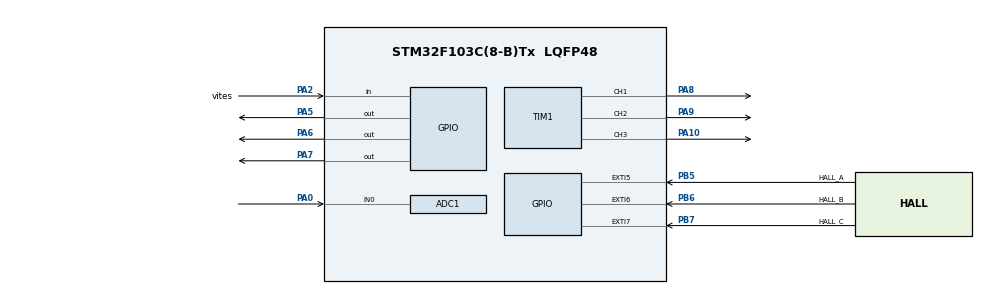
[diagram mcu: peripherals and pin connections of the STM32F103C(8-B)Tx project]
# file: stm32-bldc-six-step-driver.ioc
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ADC1.Channel-0\#ChannelRegularConversion=ADC_CHANNEL_0
ADC1.NbrOfConversionFlag=1
ADC1.Rank-0\#ChannelRegularConversion=1
ADC1.SamplingTime-0\#ChannelRegularConversion=ADC_SAMPLETIME_1CYCLE_5
ADC1.master=1
Mcu.Family=STM32F1
Mcu.Name=STM32F103C(8-B)Tx
Mcu.Package=LQFP48
NVIC.PriorityGroup=NVIC_PRIORITYGROUP_4
PA0-WKUP.Signal=ADCx_IN0
PA10.Signal=S_TIM1_CH3
PA2.GPIO_Label=vites
PA2.Signal=GPIO_Input
PA5.Signal=GPIO_Output
PA6.Signal=GPIO_Output
PA7.Signal=GPIO_Output
PA8.Signal=S_TIM1_CH1
PA9.Signal=S_TIM1_CH2
PB5.GPIO_Label=HALL_A
PB5.Signal=GPXTI5
PB6.GPIO_Label=HALL_B
PB6.Signal=GPXTI6
PB7.GPIO_Label=HALL_C
PB7.Signal=GPXTI7
ProjectManager.HeapSize=0x200
ProjectManager.StackSize=0x400
ProjectManager.TargetToolchain=STM32CubeIDE
RCC.APB1Freq_Value=8000000
RCC.APB2Freq_Value=8000000
SH.ADCx_IN0.0=ADC1_IN0,IN0
SH.S_TIM1_CH1.0=TIM1_CH1,PWM Generation1 CH1
SH.S_TIM1_CH2.0=TIM1_CH2,PWM Generation2 CH2
SH.S_TIM1_CH3.0=TIM1_CH3,PWM Generation3 CH3
TIM1.Channel-PWM\ Generation1\ CH1=TIM_CHANNEL_1
TIM1.Channel-PWM\ Generation2\ CH2=TIM_CHANNEL_2
TIM1.Channel-PWM\ Generation3\ CH3=TIM_CHANNEL_3
VP_SYS_VS_ND.Mode=No_Debug
board=custom

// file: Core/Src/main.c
/* USER CODE BEGIN Header */
/**
  ******************************************************************************
  * @file           : main.c
  * @brief          : Main program body
  * @author         : M. Eyub Can, TECH-OHM (https://tech-ohm.com)
  ******************************************************************************
  * @attention
  *
  * Copyright (c) 2024 STMicroelectronics.
  * All rights reserved.
  *
  * This software is licensed under terms that can be found in the LICENSE file
  * in the root directory of this software component.
  * If no LICENSE file comes with this software, it is provided AS-IS.
  *
  ******************************************************************************
  */
/* USER CODE END Header */
#include "main.h"

/* USER CODE BEGIN PTD */
/* Phase indexes. High side is a TIM1 channel, low side is a GPIOA pin. */
typedef enum { PHASE_A = 0, PHASE_B, PHASE_C } phase_t;

typedef struct {
  phase_t high;   /* high side, gets the PWM */
  phase_t low;    /* low side, held on for the whole step */
} step_t;
/* USER CODE END PTD */

/* USER CODE BEGIN PD */
#define PWM_STEPS          100U   /* duty resolution, TIM1 ARR = PWM_STEPS - 1 */
#define PWM_PRESCALER      3U     /* 8 MHz / (3 + 1) / 100 = 20 kHz */
#define DUTY_MAX           95U    /* bootstrap drivers cannot hold the high side at 100% duty */

#define THROTTLE_START     150U   /* motor starts above this throttle value (12-bit ADC) */
#define THROTTLE_STOP      100U   /* outputs switch off below this value */
#define THROTTLE_FULL      4095U
/* USER CODE END PD */

ADC_HandleTypeDef hadc1;

TIM_HandleTypeDef htim1;

/* USER CODE BEGIN PV */
/* Commutation table. Step 0 means everything off. */
static const step_t commutation[7] = {
  { PHASE_A, PHASE_A },   /* 0: not used */
  { PHASE_A, PHASE_B },   /* 1: AH + BL */
  { PHASE_A, PHASE_C },   /* 2: AH + CL */
  { PHASE_B, PHASE_C },   /* 3: BH + CL */
  { PHASE_B, PHASE_A },   /* 4: BH + AL */
  { PHASE_C, PHASE_A },   /* 5: CH + AL */
  { PHASE_C, PHASE_B },   /* 6: CH + BL */
};

/* Hall code (A<<2 | B<<1 | C) -> commutation step in the forward direction.
 * 000 and 111 are invalid. You get them when a sensor wire is broken. */
static const uint8_t hall_to_step[8] = { 0, 6, 4, 5, 2, 1, 3, 0 };

static const uint32_t pwm_channel[3] = { TIM_CHANNEL_1, TIM_CHANNEL_2, TIM_CHANNEL_3 };
static const uint16_t low_pin[3]     = { GPIO_PIN_5, GPIO_PIN_6, GPIO_PIN_7 };

static volatile uint32_t pwm_duty = 0;   /* 0..DUTY_MAX */
static volatile uint8_t  running  = 0;
static volatile uint8_t  reverse  = 0;   /* 0: forward, 1: reverse */
static uint32_t pedal = 0;               /* filtered ADC value */
/* USER CODE END PV */

void SystemClock_Config(void);
static void MX_GPIO_Init(void);
static void MX_ADC1_Init(void);
static void MX_TIM1_Init(void);
/* USER CODE BEGIN PFP */
static void motor_hw_init(void);
static void outputs_off(void);
static void apply_step(uint8_t step, uint32_t duty);
static void commutate(void);
static uint32_t read_pedal(void);
/* USER CODE END PFP */

/* USER CODE BEGIN 0 */
/* Settings that override what CubeMX generates. The PWM time base, the hall
 * interrupts and SWD are set here by hand, so regenerating the .ioc keeps them. */
static void motor_hw_init(void)
{
  GPIO_InitTypeDef gpio = {0};

  /* 20 kHz PWM, duty 0..100 */
  __HAL_TIM_SET_PRESCALER(&htim1, PWM_PRESCALER);
  __HAL_TIM_SET_AUTORELOAD(&htim1, PWM_STEPS - 1U);
  htim1.Instance->EGR = TIM_EGR_UG;

  /* Hall inputs must interrupt on both edges, otherwise 3 of the 6 steps are missed */
  gpio.Pin  = HALL_A_Pin | HALL_B_Pin | HALL_C_Pin;
  gpio.Mode = GPIO_MODE_IT_RISING_FALLING;
  gpio.Pull = GPIO_PULLUP;
  HAL_GPIO_Init(GPIOB, &gpio);
  HAL_NVIC_SetPriority(EXTI9_5_IRQn, 1, 0);
  HAL_NVIC_EnableIRQ(EXTI9_5_IRQn);

  /* JTAG off, SWD stays on so the board can be reprogrammed */
  __HAL_AFIO_REMAP_SWJ_NOJTAG();
}

static void outputs_off(void)
{
  HAL_GPIO_WritePin(GPIOA, GPIO_PIN_5 | GPIO_PIN_6 | GPIO_PIN_7, GPIO_PIN_RESET);
  __HAL_TIM_SET_COMPARE(&htim1, TIM_CHANNEL_1, 0);
  __HAL_TIM_SET_COMPARE(&htim1, TIM_CHANNEL_2, 0);
  __HAL_TIM_SET_COMPARE(&htim1, TIM_CHANNEL_3, 0);
}

/* Unused switches go off first, then the switches of the new step come on.
 * No step has the high and low side of the same phase on together. */
static void apply_step(uint8_t step, uint32_t duty)
{
  if (step < 1U || step > 6U) {
    outputs_off();
    return;
  }

  const step_t *s = &commutation[step];

  for (uint8_t p = 0; p < 3U; p++) {
    if (p != s->low)  HAL_GPIO_WritePin(GPIOA, low_pin[p], GPIO_PIN_RESET);
    if (p != s->high) __HAL_TIM_SET_COMPARE(&htim1, pwm_channel[p], 0);
  }
  HAL_GPIO_WritePin(GPIOA, low_pin[s->low], GPIO_PIN_SET);
  __HAL_TIM_SET_COMPARE(&htim1, pwm_channel[s->high], duty);
}

/* Reads the hall sensors and applies the step that matches the rotor position.
 * It works at standstill too, so no separate open-loop start is needed. */
static void commutate(void)
{
  uint8_t hall = 0;

  if (HAL_GPIO_ReadPin(GPIOB, HALL_A_Pin) == GPIO_PIN_SET) hall |= 0x4U;
  if (HAL_GPIO_ReadPin(GPIOB, HALL_B_Pin) == GPIO_PIN_SET) hall |= 0x2U;
  if (HAL_GPIO_ReadPin(GPIOB, HALL_C_Pin) == GPIO_PIN_SET) hall |= 0x1U;

  uint8_t step = hall_to_step[hall];

  /* In reverse the same hall code selects the step 180 degrees away */
  if (step != 0U && reverse) {
    step = (uint8_t)(((step + 2U) % 6U) + 1U);
  }

  apply_step(running ? step : 0U, pwm_duty);
}

/* Throttle potentiometer. A single sample is noisy, hence the 1/8 IIR filter. */
static uint32_t read_pedal(void)
{
  HAL_ADC_Start(&hadc1);
  if (HAL_ADC_PollForConversion(&hadc1, 2) == HAL_OK) {
    uint32_t raw = HAL_ADC_GetValue(&hadc1);
    pedal = (pedal * 7U + raw) / 8U;
  }
  return pedal;
}

void HAL_GPIO_EXTI_Callback(uint16_t GPIO_Pin)
{
  if (GPIO_Pin & (HALL_A_Pin | HALL_B_Pin | HALL_C_Pin)) {
    commutate();
  }
}
/* USER CODE END 0 */

int main(void)
{

  /* MCU Configuration--------------------------------------------------------*/

  /* Reset of all peripherals, Initializes the Flash interface and the Systick. */
  HAL_Init();

  /* Configure the system clock */
  SystemClock_Config();

  /* Initialize all configured peripherals */
  MX_GPIO_Init();
  MX_ADC1_Init();
  MX_TIM1_Init();
  /* USER CODE BEGIN 2 */
  motor_hw_init();
  outputs_off();
  HAL_TIM_PWM_Start(&htim1, TIM_CHANNEL_1);
  HAL_TIM_PWM_Start(&htim1, TIM_CHANNEL_2);
  HAL_TIM_PWM_Start(&htim1, TIM_CHANNEL_3);
  /* USER CODE END 2 */

  /* Infinite loop */
  while (1)
  {

    /* USER CODE BEGIN 3 */
    uint32_t throttle = read_pedal();

    if (!running && throttle >= THROTTLE_START) {
      /* Direction is read only at standstill. It cannot change while the motor turns. */
      reverse = (HAL_GPIO_ReadPin(vites_GPIO_Port, vites_Pin) == GPIO_PIN_SET);
      running = 1;
    } else if (running && throttle < THROTTLE_STOP) {
      running = 0;
    }

    if (running) {
      pwm_duty = (throttle - THROTTLE_STOP) * DUTY_MAX / (THROTTLE_FULL - THROTTLE_STOP);
    } else {
      pwm_duty = 0;
    }

    /* Commutation also runs from the main loop, to update the duty and to retry
     * if the motor stalls. The hall interrupt is masked so the two cannot collide. */
    HAL_NVIC_DisableIRQ(EXTI9_5_IRQn);
    commutate();
    HAL_NVIC_EnableIRQ(EXTI9_5_IRQn);

    HAL_Delay(1);
  }
  /* USER CODE END 3 */
}

void SystemClock_Config(void)
{
  RCC_OscInitTypeDef RCC_OscInitStruct = {0};
  RCC_ClkInitTypeDef RCC_ClkInitStruct = {0};
  RCC_PeriphCLKInitTypeDef PeriphClkInit = {0};

  /** Initializes the RCC Oscillators according to the specified parameters
  * in the RCC_OscInitTypeDef structure.
  */
  RCC_OscInitStruct.OscillatorType = RCC_OSCILLATORTYPE_HSI;
  RCC_OscInitStruct.HSIState = RCC_HSI_ON;
  RCC_OscInitStruct.HSICalibrationValue = RCC_HSICALIBRATION_DEFAULT;
  RCC_OscInitStruct.PLL.PLLState = RCC_PLL_NONE;
  if (HAL_RCC_OscConfig(&RCC_OscInitStruct) != HAL_OK)
  {
    Error_Handler();
  }

  /** Initializes the CPU, AHB and APB buses clocks
  */
  RCC_ClkInitStruct.ClockType = RCC_CLOCKTYPE_HCLK|RCC_CLOCKTYPE_SYSCLK
                              |RCC_CLOCKTYPE_PCLK1|RCC_CLOCKTYPE_PCLK2;
  RCC_ClkInitStruct.SYSCLKSource = RCC_SYSCLKSOURCE_HSI;
  RCC_ClkInitStruct.AHBCLKDivider = RCC_SYSCLK_DIV1;
  RCC_ClkInitStruct.APB1CLKDivider = RCC_HCLK_DIV1;
  RCC_ClkInitStruct.APB2CLKDivider = RCC_HCLK_DIV1;

  if (HAL_RCC_ClockConfig(&RCC_ClkInitStruct, FLASH_LATENCY_0) != HAL_OK)
  {
    Error_Handler();
  }
  PeriphClkInit.PeriphClockSelection = RCC_PERIPHCLK_ADC;
  PeriphClkInit.AdcClockSelection = RCC_ADCPCLK2_DIV2;
  if (HAL_RCCEx_PeriphCLKConfig(&PeriphClkInit) != HAL_OK)
  {
    Error_Handler();
  }
}

static void MX_ADC1_Init(void)
{

  ADC_ChannelConfTypeDef sConfig = {0};

  /** Common config
  */
  hadc1.Instance = ADC1;
  hadc1.Init.ScanConvMode = ADC_SCAN_DISABLE;
  hadc1.Init.ContinuousConvMode = DISABLE;
  hadc1.Init.DiscontinuousConvMode = DISABLE;
  hadc1.Init.ExternalTrigConv = ADC_SOFTWARE_START;
  hadc1.Init.DataAlign = ADC_DATAALIGN_RIGHT;
  hadc1.Init.NbrOfConversion = 1;
  if (HAL_ADC_Init(&hadc1) != HAL_OK)
  {
    Error_Handler();
  }

  /** Configure Regular Channel
  */
  sConfig.Channel = ADC_CHANNEL_0;
  sConfig.Rank = ADC_REGULAR_RANK_1;
  sConfig.SamplingTime = ADC_SAMPLETIME_1CYCLE_5;
  if (HAL_ADC_ConfigChannel(&hadc1, &sConfig) != HAL_OK)
  {
    Error_Handler();
  }

}

static void MX_TIM1_Init(void)
{

  TIM_MasterConfigTypeDef sMasterConfig = {0};
  TIM_OC_InitTypeDef sConfigOC = {0};
  TIM_BreakDeadTimeConfigTypeDef sBreakDeadTimeConfig = {0};

  htim1.Instance = TIM1;
  htim1.Init.Prescaler = 0;
  htim1.Init.CounterMode = TIM_COUNTERMODE_UP;
  htim1.Init.Period = 65535;
  htim1.Init.ClockDivision = TIM_CLOCKDIVISION_DIV1;
  htim1.Init.RepetitionCounter = 0;
  htim1.Init.AutoReloadPreload = TIM_AUTORELOAD_PRELOAD_DISABLE;
  if (HAL_TIM_PWM_Init(&htim1) != HAL_OK)
  {
    Error_Handler();
  }
  sMasterConfig.MasterOutputTrigger = TIM_TRGO_RESET;
  sMasterConfig.MasterSlaveMode = TIM_MASTERSLAVEMODE_DISABLE;
  if (HAL_TIMEx_MasterConfigSynchronization(&htim1, &sMasterConfig) != HAL_OK)
  {
    Error_Handler();
  }
  sConfigOC.OCMode = TIM_OCMODE_PWM1;
  sConfigOC.Pulse = 0;
  sConfigOC.OCPolarity = TIM_OCPOLARITY_HIGH;
  sConfigOC.OCNPolarity = TIM_OCNPOLARITY_HIGH;
  sConfigOC.OCFastMode = TIM_OCFAST_DISABLE;
  sConfigOC.OCIdleState = TIM_OCIDLESTATE_RESET;
  sConfigOC.OCNIdleState = TIM_OCNIDLESTATE_RESET;
  if (HAL_TIM_PWM_ConfigChannel(&htim1, &sConfigOC, TIM_CHANNEL_1) != HAL_OK)
  {
    Error_Handler();
  }
  if (HAL_TIM_PWM_ConfigChannel(&htim1, &sConfigOC, TIM_CHANNEL_2) != HAL_OK)
  {
    Error_Handler();
  }
  if (HAL_TIM_PWM_ConfigChannel(&htim1, &sConfigOC, TIM_CHANNEL_3) != HAL_OK)
  {
    Error_Handler();
  }
  sBreakDeadTimeConfig.OffStateRunMode = TIM_OSSR_DISABLE;
  sBreakDeadTimeConfig.OffStateIDLEMode = TIM_OSSI_DISABLE;
  sBreakDeadTimeConfig.LockLevel = TIM_LOCKLEVEL_OFF;
  sBreakDeadTimeConfig.DeadTime = 0;
  sBreakDeadTimeConfig.BreakState = TIM_BREAK_DISABLE;
  sBreakDeadTimeConfig.BreakPolarity = TIM_BREAKPOLARITY_HIGH;
  sBreakDeadTimeConfig.AutomaticOutput = TIM_AUTOMATICOUTPUT_DISABLE;
  if (HAL_TIMEx_ConfigBreakDeadTime(&htim1, &sBreakDeadTimeConfig) != HAL_OK)
  {
    Error_Handler();
  }
  HAL_TIM_MspPostInit(&htim1);

}

static void MX_GPIO_Init(void)
{
  GPIO_InitTypeDef GPIO_InitStruct = {0};

  /* GPIO Ports Clock Enable */
  __HAL_RCC_GPIOA_CLK_ENABLE();
  __HAL_RCC_GPIOB_CLK_ENABLE();

  /*Configure GPIO pin Output Level */
  HAL_GPIO_WritePin(GPIOA, GPIO_PIN_5|GPIO_PIN_6|GPIO_PIN_7, GPIO_PIN_RESET);

  /*Configure GPIO pin : vites_Pin */
  GPIO_InitStruct.Pin = vites_Pin;
  GPIO_InitStruct.Mode = GPIO_MODE_INPUT;
  GPIO_InitStruct.Pull = GPIO_NOPULL;
  HAL_GPIO_Init(vites_GPIO_Port, &GPIO_InitStruct);

  /*Configure GPIO pins : PA5 PA6 PA7 */
  GPIO_InitStruct.Pin = GPIO_PIN_5|GPIO_PIN_6|GPIO_PIN_7;
  GPIO_InitStruct.Mode = GPIO_MODE_OUTPUT_PP;
  GPIO_InitStruct.Pull = GPIO_NOPULL;
  GPIO_InitStruct.Speed = GPIO_SPEED_FREQ_LOW;
  HAL_GPIO_Init(GPIOA, &GPIO_InitStruct);

  /*Configure GPIO pins : HALL_A_Pin HALL_B_Pin HALL_C_Pin */
  GPIO_InitStruct.Pin = HALL_A_Pin|HALL_B_Pin|HALL_C_Pin;
  GPIO_InitStruct.Mode = GPIO_MODE_IT_RISING;
  GPIO_InitStruct.Pull = GPIO_NOPULL;
  HAL_GPIO_Init(GPIOB, &GPIO_InitStruct);

}

/* USER CODE BEGIN 4 */
/* The hall pins have no NVIC interrupt enabled in CubeMX, so the handler lives here */
void EXTI9_5_IRQHandler(void)
{
  HAL_GPIO_EXTI_IRQHandler(HALL_A_Pin);
  HAL_GPIO_EXTI_IRQHandler(HALL_B_Pin);
  HAL_GPIO_EXTI_IRQHandler(HALL_C_Pin);
}
/* USER CODE END 4 */

void Error_Handler(void)
{
  __disable_irq();
  while (1)
  {
  }
}
